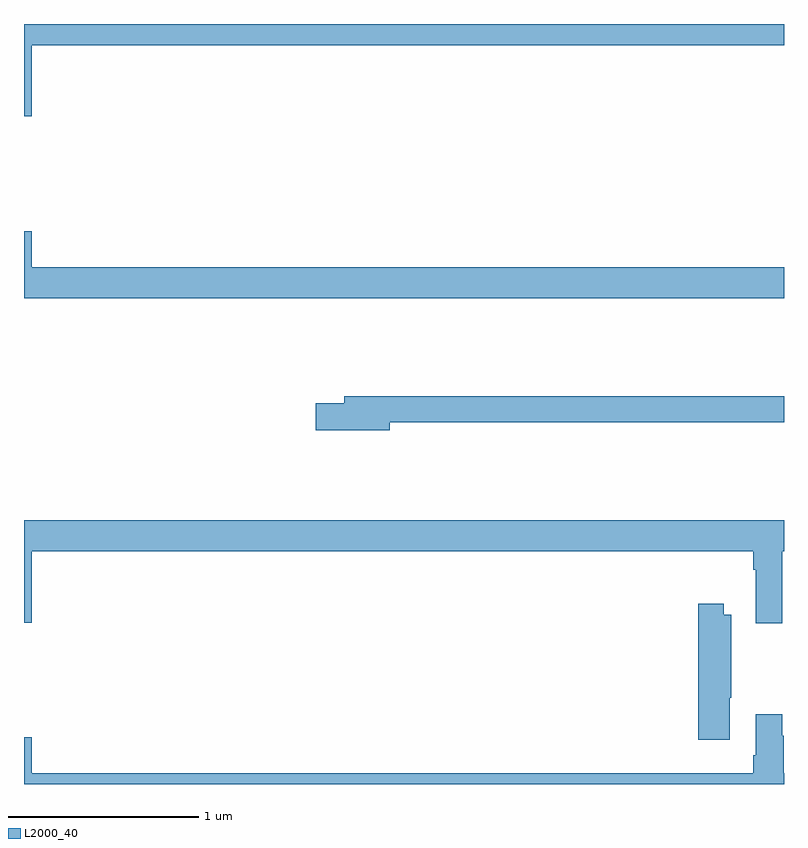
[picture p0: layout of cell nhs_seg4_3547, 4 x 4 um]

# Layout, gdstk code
import gdstk
lib = gdstk.Library(unit=1e-6, precision=1e-09)
def P(c, l, *ps):  # polygons
    for p in ps: c.add(gdstk.Polygon(p, *l))
L2000_40 = (2000, 40)

nhs_seg4_3547 = lib.new_cell('nhs_seg4_3547')
P(nhs_seg4_3547, L2000_40, [(297.04,828.788),(301,828.788),(301,828.9),(297,828.9),(297,828.414),(297.04,828.414)],
  [(301,827.62),(297.04,827.62),(297.04,827.809),(297,827.809),(297,827.456),(301,827.456)],
  [(298.924,826.804),(301,826.804),(301,826.94),(298.685,826.94),(298.685,826.904),(298.536,826.904),(298.536,826.762),(298.924,826.762)],
  [(300.991,826.124),(301,826.124),(301,826.288),(297,826.288),(297,825.75),(297.04,825.75),(297.04,826.124),(300.839,826.124),(300.839,826.028),(300.851,826.028),(300.851,825.747),(300.991,825.747)],
  [(300.715,825.355),(300.723,825.355),(300.723,825.79),(300.682,825.79),(300.682,825.85),(300.548,825.85),(300.548,825.132),(300.715,825.132)],
  [(301,824.956),(300.999,824.956),(300.999,825.155),(300.991,825.155),(300.991,825.268),(300.851,825.268),(300.851,825.052),(300.839,825.052),(300.839,824.956),(297.04,824.956),(297.04,825.145),(297,825.145),(297,824.9),(301,824.9)])

lib.write_gds('nhs_seg4_3547.gds')
